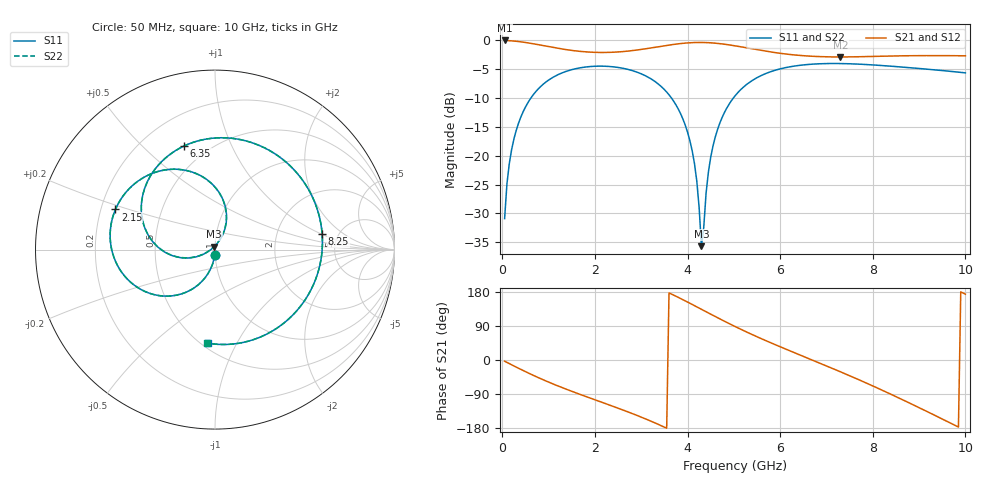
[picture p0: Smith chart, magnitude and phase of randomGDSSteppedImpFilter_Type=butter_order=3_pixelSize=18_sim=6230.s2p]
! freq	dB(S11)	phase(S11)	dB(S12)	phase(S12)
!  dB(S21)	phase(S21)	dB(S22)	phase(S22)
!S-par simulation data
#  GHz  S  DB  R 50
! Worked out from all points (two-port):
!   200 points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, 50 MHz to 10 GHz, reference 50 ohm
!   highest |S21| = -0.01 dB at 50 MHz (marker M1); lowest = -2.9 dB at 7.3 GHz (marker M2)
!   |S21| within 3 dB of the highest: start of sweep to end of sweep
!   lowest |S11| = -35.7 dB at 4.3 GHz (marker M3), VSWR 1.03, Z = 49.5 + j1.54 ohm
!   |S11| at or under -10 dB: start of sweep to 617.6 MHz; 3.653 GHz to 4.989 GHz (1.336 GHz wide, 30.9 % of centre)
!   |S22| runs from -35.1 to -4.0 dB; largest |S21 - S12| = 0
!   S11 on the Smith chart (normalised r, x): 50 MHz: 1.00, -0.06; 2.15 GHz: 0.26, +0.18; 6.35 GHz: 0.37, +0.68; 8.25 GHz: 3.74, +1.03; 10 GHz: 0.54, -0.77
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0.05  -30.91 -93.3  -0.01 -3.2  -0.01 -3.2  -30.91 -93.3
0.2  -19.01 -103.1  -0.08 -12.6  -0.08 -12.6  -19.01 -103.1
0.5  -11.56 -121.3  -0.36 -30.7  -0.36 -30.7  -11.56 -121.2
1.05  -6.62 -151.3  -1.15 -60.9  -1.15 -60.9  -6.62 -151.3
1.75  -4.67 175.6  -1.95 -93.9  -1.95 -93.9  -4.67 175.6
2.15  -4.46 158.0  -2.09 -111.6  -2.09 -111.6  -4.46 158.1
2.85  -5.34 126.6  -1.73 -143.4  -1.73 -143.4  -5.34 126.7
3.4  -7.78 99.1  -1.06 -171.6  -1.06 -171.6  -7.78 99.3
4.05  -17.36 65.0  -0.41 149.8  -0.41 149.8  -17.35 65.4
4.2  -24.41 63.3  -0.36 140.2  -0.36 140.2  -24.36 64.5
4.3  -35.70 108.7  -0.35 133.8  -0.35 133.8  -35.13 110.3
4.45  -22.88 -158.0  -0.39 124.2  -0.39 124.2  -22.85 -159.0
4.55  -18.31 -159.5  -0.44 117.8  -0.44 117.8  -18.30 -160.1
5.05  -9.39 174.4  -0.97 87.0  -0.97 87.0  -9.39 174.2
5.65  -5.88 142.0  -1.81 53.2  -1.81 53.2  -5.88 141.8
6.35  -4.40 106.6  -2.55 17.2  -2.55 17.2  -4.40 106.4
6.7  -4.12 89.2  -2.75 -0.4  -2.75 -0.4  -4.12 89.0
7.3  -4.01 58.9  -2.87 -31.0  -2.87 -31.0  -4.01 58.8
8.25  -4.39 8.4  -2.73 -82.4  -2.73 -82.4  -4.39 8.3
8.35  -4.45 2.8  -2.71 -88.0  -2.71 -88.0  -4.45 2.7
9.1  -4.94 -40.1  -2.64 -131.7  -2.64 -131.7  -4.94 -40.2
10  -5.63 -94.6  -2.67 173.6  -2.67 173.6  -5.64 -94.7
